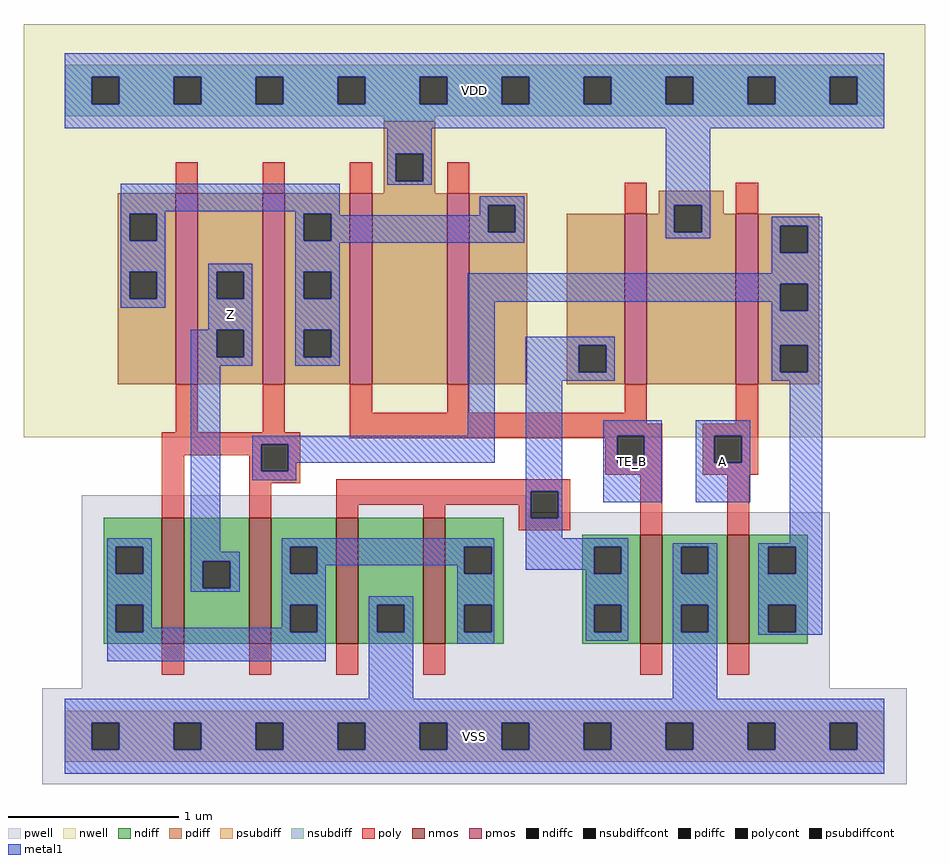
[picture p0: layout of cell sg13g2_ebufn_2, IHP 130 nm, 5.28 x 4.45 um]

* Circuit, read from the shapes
.subckt sg13g2_ebufn_2 A Z VSS VDD TE_B
XM1 Z n1 n2 VSS sg13_lv_nmos w=0.74u l=0.13u m=2
XM2 VSS n3 n2 VSS sg13_lv_nmos w=0.74u l=0.13u m=2
XM3 VSS TE_B n3 VSS sg13_lv_nmos w=0.64u l=0.13u
XM4 n1 A VSS VSS sg13_lv_nmos w=0.64u l=0.13u
XM5 Z n1 n4 VDD sg13_lv_pmos w=1.12u l=0.13u m=2
XM6 VDD TE_B n4 VDD sg13_lv_pmos w=1.12u l=0.13u m=2
XM7 VDD TE_B n3 VDD sg13_lv_pmos w=1u l=0.13u
XM8 n1 A VDD VDD sg13_lv_pmos w=1u l=0.13u
.ends

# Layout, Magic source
magic
tech ihp-sg13g2
magscale 1 2
<< nwell >>
rect -48 350 1008 834
<< pwell >>
rect 20 262 540 282
rect 20 56 896 262
rect -26 -56 986 56
<< nmos >>
rect 114 108 140 256
rect 216 108 242 256
rect 318 108 344 256
rect 420 108 446 256
rect 674 108 700 236
rect 776 108 802 236
<< pmos >>
rect 130 412 156 636
rect 232 412 258 636
rect 334 412 360 636
rect 448 412 474 636
rect 656 412 682 612
rect 786 412 812 612
<< ndiff >>
rect 46 222 114 256
rect 46 190 60 222
rect 92 190 114 222
rect 46 154 114 190
rect 46 122 60 154
rect 92 122 114 154
rect 46 108 114 122
rect 140 205 216 256
rect 140 173 162 205
rect 194 173 216 205
rect 140 108 216 173
rect 242 222 318 256
rect 242 190 264 222
rect 296 190 318 222
rect 242 154 318 190
rect 242 122 264 154
rect 296 122 318 154
rect 242 108 318 122
rect 344 154 420 256
rect 344 122 366 154
rect 398 122 420 154
rect 344 108 420 122
rect 446 222 514 256
rect 446 190 468 222
rect 500 190 514 222
rect 446 154 514 190
rect 446 122 468 154
rect 500 122 514 154
rect 446 108 514 122
rect 606 222 674 236
rect 606 190 620 222
rect 652 190 674 222
rect 606 154 674 190
rect 606 122 620 154
rect 652 122 674 154
rect 606 108 674 122
rect 700 222 776 236
rect 700 190 722 222
rect 754 190 776 222
rect 700 154 776 190
rect 700 122 722 154
rect 754 122 776 154
rect 700 108 776 122
rect 802 222 870 236
rect 802 190 824 222
rect 856 190 870 222
rect 802 154 870 190
rect 802 122 824 154
rect 856 122 870 154
rect 802 108 870 122
<< pdiff >>
rect 374 682 434 720
rect 374 650 388 682
rect 420 650 434 682
rect 374 636 434 650
rect 62 612 130 636
rect 62 580 76 612
rect 108 580 130 612
rect 62 544 130 580
rect 62 512 76 544
rect 108 512 130 544
rect 62 412 130 512
rect 156 544 232 636
rect 156 512 178 544
rect 210 512 232 544
rect 156 476 232 512
rect 156 444 178 476
rect 210 444 232 476
rect 156 412 232 444
rect 258 612 334 636
rect 258 580 280 612
rect 312 580 334 612
rect 258 544 334 580
rect 258 512 280 544
rect 312 512 334 544
rect 258 476 334 512
rect 258 444 280 476
rect 312 444 334 476
rect 258 412 334 444
rect 360 412 448 636
rect 474 622 542 636
rect 474 590 496 622
rect 528 590 542 622
rect 696 622 772 639
rect 696 612 714 622
rect 474 412 542 590
rect 588 458 656 612
rect 588 426 602 458
rect 634 426 656 458
rect 588 412 656 426
rect 682 590 714 612
rect 746 612 772 622
rect 746 590 786 612
rect 682 412 786 590
rect 812 598 884 612
rect 812 566 838 598
rect 870 566 884 598
rect 812 530 884 566
rect 812 498 838 530
rect 870 498 884 530
rect 812 458 884 498
rect 812 426 838 458
rect 870 426 884 458
rect 812 412 884 426
<< ndiffc >>
rect 60 190 92 222
rect 60 122 92 154
rect 162 173 194 205
rect 264 190 296 222
rect 264 122 296 154
rect 366 122 398 154
rect 468 190 500 222
rect 468 122 500 154
rect 620 190 652 222
rect 620 122 652 154
rect 722 190 754 222
rect 722 122 754 154
rect 824 190 856 222
rect 824 122 856 154
<< pdiffc >>
rect 388 650 420 682
rect 76 580 108 612
rect 76 512 108 544
rect 178 512 210 544
rect 178 444 210 476
rect 280 580 312 612
rect 280 512 312 544
rect 280 444 312 476
rect 496 590 528 622
rect 602 426 634 458
rect 714 590 746 622
rect 838 566 870 598
rect 838 498 870 530
rect 838 426 870 458
<< psubdiff >>
rect 0 16 960 30
rect 0 -16 32 16
rect 64 -16 128 16
rect 160 -16 224 16
rect 256 -16 320 16
rect 352 -16 416 16
rect 448 -16 512 16
rect 544 -16 608 16
rect 640 -16 704 16
rect 736 -16 800 16
rect 832 -16 896 16
rect 928 -16 960 16
rect 0 -30 960 -16
<< nsubdiff >>
rect 0 772 960 786
rect 0 740 32 772
rect 64 740 128 772
rect 160 740 224 772
rect 256 740 320 772
rect 352 740 416 772
rect 448 740 512 772
rect 544 740 608 772
rect 640 740 704 772
rect 736 740 800 772
rect 832 740 896 772
rect 928 740 960 772
rect 0 726 960 740
rect 374 720 434 726
<< psubdiffcont >>
rect 32 -16 64 16
rect 128 -16 160 16
rect 224 -16 256 16
rect 320 -16 352 16
rect 416 -16 448 16
rect 512 -16 544 16
rect 608 -16 640 16
rect 704 -16 736 16
rect 800 -16 832 16
rect 896 -16 928 16
<< nsubdiffcont >>
rect 32 740 64 772
rect 128 740 160 772
rect 224 740 256 772
rect 320 740 352 772
rect 416 740 448 772
rect 512 740 544 772
rect 608 740 640 772
rect 704 740 736 772
rect 800 740 832 772
rect 896 740 928 772
<< poly >>
rect 130 636 156 672
rect 232 636 258 672
rect 334 636 360 672
rect 448 636 474 672
rect 656 612 682 648
rect 786 612 812 648
rect 130 356 156 412
rect 232 356 258 412
rect 334 379 360 412
rect 448 379 474 412
rect 656 379 682 412
rect 334 366 682 379
rect 786 366 812 412
rect 114 342 276 356
rect 334 352 700 366
rect 334 349 647 352
rect 114 329 230 342
rect 114 256 140 329
rect 216 310 230 329
rect 262 310 276 342
rect 216 296 276 310
rect 633 320 647 349
rect 679 320 700 352
rect 633 306 700 320
rect 747 352 812 366
rect 747 320 761 352
rect 793 320 812 352
rect 747 306 812 320
rect 216 256 242 296
rect 318 287 592 301
rect 318 271 546 287
rect 318 256 344 271
rect 420 256 446 271
rect 532 255 546 271
rect 578 255 592 287
rect 532 241 592 255
rect 674 236 700 306
rect 776 236 802 306
rect 114 72 140 108
rect 216 72 242 108
rect 318 72 344 108
rect 420 72 446 108
rect 674 72 700 108
rect 776 72 802 108
<< polycont >>
rect 230 310 262 342
rect 647 320 679 352
rect 761 320 793 352
rect 546 255 578 287
<< metal1 >>
rect 0 772 960 800
rect 0 740 32 772
rect 64 740 128 772
rect 160 740 224 772
rect 256 740 320 772
rect 352 740 416 772
rect 448 740 512 772
rect 544 740 608 772
rect 640 740 704 772
rect 736 740 800 772
rect 832 740 896 772
rect 928 740 960 772
rect 0 712 960 740
rect 378 682 430 712
rect 378 650 388 682
rect 420 650 430 682
rect 66 615 322 647
rect 378 646 430 650
rect 66 612 118 615
rect 66 580 76 612
rect 108 580 118 612
rect 66 544 118 580
rect 270 612 322 615
rect 270 580 280 612
rect 312 610 322 612
rect 486 622 538 632
rect 486 610 496 622
rect 312 590 496 610
rect 528 590 538 622
rect 312 580 538 590
rect 704 622 756 712
rect 704 590 714 622
rect 746 590 756 622
rect 704 583 756 590
rect 828 598 887 608
rect 270 578 538 580
rect 66 512 76 544
rect 108 512 118 544
rect 66 502 118 512
rect 168 544 220 553
rect 168 512 178 544
rect 210 512 220 544
rect 168 476 220 512
rect 148 444 178 476
rect 210 444 220 476
rect 148 434 220 444
rect 270 544 322 578
rect 270 512 280 544
rect 312 512 322 544
rect 828 566 838 598
rect 870 566 887 598
rect 828 542 887 566
rect 270 476 322 512
rect 270 444 280 476
rect 312 444 322 476
rect 270 434 322 444
rect 472 530 887 542
rect 472 509 838 530
rect 50 222 102 232
rect 50 190 60 222
rect 92 190 102 222
rect 50 154 102 190
rect 148 216 182 434
rect 472 352 504 509
rect 828 498 838 509
rect 870 498 887 530
rect 220 342 504 352
rect 220 310 230 342
rect 262 320 504 342
rect 540 458 644 468
rect 540 426 602 458
rect 634 426 644 458
rect 540 416 644 426
rect 828 458 887 498
rect 828 426 838 458
rect 870 426 887 458
rect 828 416 887 426
rect 262 310 271 320
rect 220 300 271 310
rect 540 287 583 416
rect 540 255 546 287
rect 578 255 583 287
rect 631 352 699 370
rect 631 320 647 352
rect 679 320 699 352
rect 631 274 699 320
rect 739 352 803 370
rect 739 320 761 352
rect 793 320 803 352
rect 739 274 803 320
rect 540 232 583 255
rect 254 222 503 232
rect 148 205 205 216
rect 148 173 162 205
rect 194 173 205 205
rect 148 169 205 173
rect 254 190 264 222
rect 296 200 468 222
rect 296 190 306 200
rect 50 122 60 154
rect 92 127 102 154
rect 254 154 306 190
rect 460 190 468 200
rect 500 190 503 222
rect 540 222 660 232
rect 849 226 887 416
rect 540 195 620 222
rect 254 127 264 154
rect 92 122 264 127
rect 296 122 306 154
rect 50 88 306 122
rect 356 154 408 164
rect 356 122 366 154
rect 398 122 408 154
rect 356 44 408 122
rect 460 154 503 190
rect 460 122 468 154
rect 500 122 503 154
rect 460 108 503 122
rect 610 190 620 195
rect 652 190 660 222
rect 610 154 660 190
rect 610 122 620 154
rect 652 122 660 154
rect 610 112 660 122
rect 712 222 764 226
rect 712 190 722 222
rect 754 190 764 222
rect 712 154 764 190
rect 712 122 722 154
rect 754 122 764 154
rect 712 44 764 122
rect 812 222 887 226
rect 812 190 824 222
rect 856 190 887 222
rect 812 154 887 190
rect 812 122 824 154
rect 856 122 887 154
rect 812 119 887 122
rect 0 16 960 44
rect 0 -16 32 16
rect 64 -16 128 16
rect 160 -16 224 16
rect 256 -16 320 16
rect 352 -16 416 16
rect 448 -16 512 16
rect 544 -16 608 16
rect 640 -16 704 16
rect 736 -16 800 16
rect 832 -16 896 16
rect 928 -16 960 16
rect 0 -44 960 -16
<< labels >>
flabel metal1 s 739 274 803 370 0 FreeSans 400 0 0 0 A
port 2 nsew
flabel metal1 s 168 434 220 553 0 FreeSans 400 0 0 0 Z
port 3 nsew
flabel metal1 s 0 -44 960 44 0 FreeSans 400 0 0 0 VSS
port 4 nsew
flabel metal1 s 0 712 960 800 0 FreeSans 400 0 0 0 VDD
port 5 nsew
flabel metal1 s 631 274 699 370 0 FreeSans 400 0 0 0 TE_B
port 6 nsew
<< properties >>
string FIXED_BBOX 0 0 960 756
<< end >>
